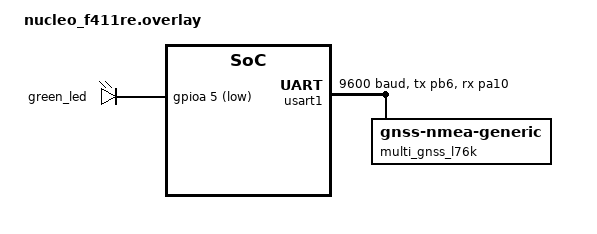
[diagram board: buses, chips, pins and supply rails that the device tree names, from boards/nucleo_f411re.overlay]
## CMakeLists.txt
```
# SPDX-License-Identifier: Apache-2.0

cmake_minimum_required(VERSION 3.20.0)
find_package(Zephyr REQUIRED HINTS $ENV{ZEPHYR_BASE})
project(MYZEPHYR)

target_sources(app PRIVATE src/main.c)
```

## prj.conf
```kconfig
# Copyright (c) 2023 Trackunit Corporation
# SPDX-License-Identifier: Apache-2.0

CONFIG_GNSS=y
CONFIG_GNSS_SATELLITES=y
CONFIG_LOG=y
CONFIG_LOG_BUFFER_SIZE=8192
# CONFIG_GNSS_DUMP_TO_LOG=y
CONFIG_GNSS_LOG_LEVEL_DBG=y
CONFIG_GPIO=y
CONFIG_UART_INTERRUPT_DRIVEN=y
CONFIG_MODEM_MODULES=y
CONFIG_CONSOLE=y
CONFIG_UART_CONSOLE=y
CONFIG_STDOUT_CONSOLE=y
```

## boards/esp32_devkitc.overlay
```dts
/* SPDX-License-Identifier: Apache-2.0 */

/ {
    /* 1. Definiujemy alias, który połączy fabryczny program blinky z naszą diodą */
    aliases {
        led0 = &ext_led;
    };

    /* 2. Tworzymy węzeł (node) opisujący naszą fizyczną zewnętrzną diodę */
    leds {
        compatible = "gpio-leds";
        ext_led: led_external {
            gpios = <&gpio0 15 GPIO_ACTIVE_HIGH>;
            label = "External Yellow LED";
        };
    };
};
```

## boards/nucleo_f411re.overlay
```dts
/* SPDX-License-Identifier: Apache-2.0 */

/ {
	aliases {
		led0 = &led0;
        gnss = &multi_gnss_l76k;
	};

    chosen { 
        //te dwa tez sa w dts wsm. Po przecinku nie ma spacji !!
        zephyr,console = &usart2; //ustawiamy port do debugowania-ten sam ktory uzywa stlink bazowo
        zephyr,shell-uart = &usart2; //to jest terminal do komunikacji z procesorem (z komputera)

        //akurat te dwa sa juz w w pliku dts zazwyczaj jako phandle z adresem 
        //zephyr, flash = cos;
        //zephyr, sram = cos;
    };
leds{
    compatible = "gpio-leds";
led0: led_0 {
    status = "okay";
    gpios = <&gpioa 5 GPIO_ACTIVE_LOW>;
    label = "green_led"; //label tutaj zeby latwiej bylo sie do niego odwolac w kodzie
    
            };
    };
};

&usart1 {
    status = "okay";
    pinctrl-names = "default";
    current-speed = <9600>;
    pinctrl-0 = <&usart1_tx_pb6 &usart1_rx_pa10>;

        multi_gnss_l76k: gnss-nmea-generic {

                compatible = "gnss-nmea-generic";

                status = "okay";

        }; 
};
```

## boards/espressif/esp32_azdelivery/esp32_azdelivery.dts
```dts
/dts-v1/;   //(mandatory) version marker, mowi kompilatorowi jakiej skladni uzywac

#include <xtensa/espressif/esp32/esp32_u4wdh.dtsi> //mandatory include of the SoC description file, mowi kompilatorowi jakiego SoC uzywac

// /memreserve/ <base> <size>;  //optional memory reservation

/ {             //root node (mandatory) 
    
    //te dwie rzeczy są sa wymagane do dokumentacji SoC, model moze dowolna rzecz ale compatible to swietosc chyba??ale on nie ma bindingsow wiec nw, to chyba tylko taka metadata
    compatible = "espressif,esp32", "espressif,esp32-u4wdh"; //mandatory compatible property, mowi kompilatorowi jakiego SoC uzywac, musi byc co najmniej jeden
    model = "ESP32 AZDelivery"; //optional model property, opisuje urzadzenie, moze byc dowolna wartosc

    aliases {
        i2c0 = &i2c0; 
        led0 = &led0;
        led1 = &led1;
    };
    // w chosen wpisujemy opcjonalne node'y, ktore mowi kompilatorowi ktore node'y sa glownymi node'ami w systemie, np. glowny procesor, glowny zegar, glowny interfejs komunikacyjny itp. Musi byc co najmniej jeden node w chosen, ale moze byc ich wiecej. Kazdy node w chosen musi byc zgodny z kompatybilnoscia SoC, czyli musi byc opisany w pliku dtsi.
    chosen {
        zephyr,cpu = &cpu0; //optional chosen node, mowi kompilatorowi ktory procesor jest glowny, musi byc co najmniej jeden
    };


/*
    i2c0 to nazwa magistrali i2c (zwykly label, czyli dowolona nazwa), ale po : i2c to juz nazwa zgodna z dokumentacją SoC, mowi kompilatorowi ze ten node to magistrala i2c, a nie np. spi czy uart, a mpu6050 to nazwa zgodna z dokumentacja czujnika, mowi kompilatorowi ze ten node to czujnik mpu6050, a nie np. eeprom czy inny czujnik
    i2c0: i2c {
        compa

        mpu6050 {

        }
    }
*/
leds {
    compatible = "gpio-leds";

    led0 : led_0 { 
        //gpio0 a nie gpio2 bo w esp jest tylko jeden kontroler 
        gpios = <&gpio0 2 GPIO_ACTVE_HIGH>; // #gpio-cells to 2, bo &gpio2 to tylko referencja do kontrolera wlasciwego wiec sie nie liczy
        label = "LED_GREEN";
    };

    led1 : led_1 {
        gpios = <&gpio0 15 GPIO_ACTIVE_HIGH>;
        label = "LED_YELLOW";
    }; 
};

    &uart0 {
        status = "okay"; //optional status property, mowi kompilatorowi ze ten node jest aktywny, moze byc "okay" lub "disabled", domyslnie jest "okay"
    };

    //dawanie & oznacza ze nadpisujemy noda o tej nazwie ktory jest juz wczesniej zawarty w dolaczonym pliku dtsi, czyli w tym przypadku w esp32_u4wdh.dtsi, a nie tworzymy nowego noda o tej nazwie. W tym przypadku nadpisujemy noda i2c1, ktory jest juz zdefiniowany w esp32_u4wdh.dtsi, i dodajemy do niego nowe child node'y, czyli np. mpu6050. W ten sposob mozemy dodawac nowe urzadzenia do magistrali i2c bez koniecznosci tworzenia nowego noda i2c1, ktory jest juz zdefiniowany w pliku dtsi.
   
    &i2c1{
        status = "okay"; //optional status property, mowi kompilatorowi ze ten node jest aktywny, moze byc "okay" lub "disabled", domyslnie jest "okay"
    };
    //i2c0 : 


    
}
```

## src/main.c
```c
#include <stdio.h>
#include <zephyr/kernel.h>
#include <zephyr/drivers/gpio.h>
#include <zephyr/devicetree.h>
#include <zephyr/device.h>
//#include <zephyr/drivers/uart.h>

//dobra praktyka- zabezpiecznie kodu
#if !DT_HAS_ALIAS(led0)
 #error "missing devicetree alias led0" 
#endif
    //struct gpio_dt_spec to utworzenie struktury o nazwie led- (nazwe sami wymyslamy)
static const struct gpio_dt_spec led = GPIO_DT_SPEC_GET(DT_ALIAS(led0),gpios);


int main(void)
{
    bool led_state = false; //zmienna do przechowywania stanu diody
    //sprawdzamy czy dziala urzadzenie(tutaj led)
    if(!(gpio_is_ready_dt(&led))){ 
        return 0;
    }
    if(gpio_pin_configure_dt(&led, GPIO_OUTPUT_INACTIVE) < 0){
        return 0;
    } //ustawienie pinu jako wyjscie i ustawienie stanu wysokiego
    led_state = !led_state;

   // gpio_pin_configure bez dt to klasyczna wersja jak z bare metal gdzie zamiast jednego aliasu podajemy juz port, pin i flage
    while(true){
        if(gpio_pin_toggle_dt(&led) < 0){
        return 0;
    }
    printf("Led state: %s ",led_state ? "On" : "off"); 
    k_msleep(1000);

    
}

    return 0;
}	
```

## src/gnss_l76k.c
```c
#include <zephyr/drivers/gnss.h>
#include <zephyr/device.h>
#include <zephyr/sys/printk.h>
#include <zephyr/kernel.h>
#include <zephyr/logging/log.h>

#include "gnss_l76k.h"

static const struct device *gnss_dev = DEVICE_DT_GET(DT_ALIAS(gnss));

int init_gnss(void){

     if(device_is_ready_dt(&gnss_dev)){
        return 0;
    }
   




return 1;
}
```

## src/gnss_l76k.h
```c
#ifndef HEADER_GNSS
#define HEADER_GNSS

#endif

int init_gnss(void);
```
